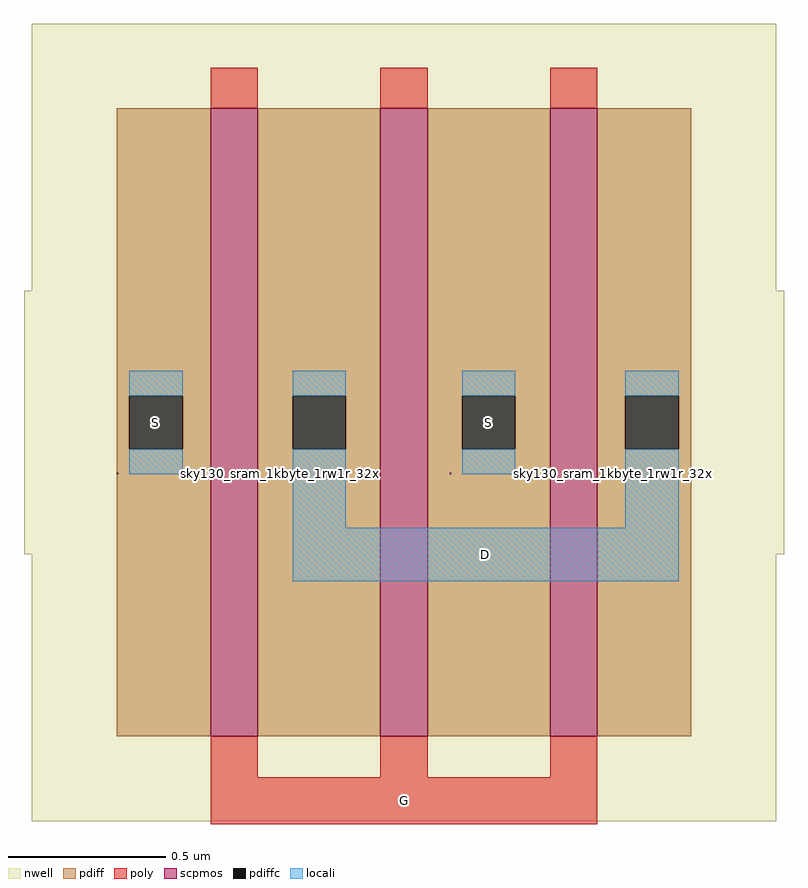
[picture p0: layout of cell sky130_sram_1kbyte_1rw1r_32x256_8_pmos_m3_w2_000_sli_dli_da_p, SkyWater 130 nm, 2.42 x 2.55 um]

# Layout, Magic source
magic
tech sky130A
magscale 1 2
<< nwell >>
rect -54 284 420 454
rect -59 116 425 284
rect -54 -54 420 116
<< scpmos >>
rect 60 0 90 400
rect 168 0 198 400
rect 276 0 306 400
<< pdiff >>
rect 0 217 60 400
rect 0 183 8 217
rect 42 183 60 217
rect 0 0 60 183
rect 90 217 168 400
rect 90 183 112 217
rect 146 183 168 217
rect 90 0 168 183
rect 198 217 276 400
rect 198 183 220 217
rect 254 183 276 217
rect 198 0 276 183
rect 306 217 366 400
rect 306 183 324 217
rect 358 183 366 217
rect 306 0 366 183
<< pdiffc >>
rect 8 183 42 217
rect 112 183 146 217
rect 220 183 254 217
rect 324 183 358 217
<< poly >>
rect 60 400 90 426
rect 168 400 198 426
rect 276 400 306 426
rect 60 -26 90 0
rect 168 -26 198 0
rect 276 -26 306 0
rect 60 -56 306 -26
<< locali >>
rect 8 217 42 233
rect 8 167 42 183
rect 112 217 146 233
rect 112 133 146 183
rect 220 217 254 233
rect 220 167 254 183
rect 324 217 358 233
rect 324 133 358 183
rect 112 99 358 133
use sky130_sram_1kbyte_1rw1r_32x256_8_contact_12  sky130_sram_1kbyte_1rw1r_32x256_8_contact_12_0
transform 1 0 316 0 1 167
box 0 0 1 1
use sky130_sram_1kbyte_1rw1r_32x256_8_contact_12  sky130_sram_1kbyte_1rw1r_32x256_8_contact_12_1
transform 1 0 212 0 1 167
box 0 0 1 1
use sky130_sram_1kbyte_1rw1r_32x256_8_contact_12  sky130_sram_1kbyte_1rw1r_32x256_8_contact_12_2
transform 1 0 104 0 1 167
box 0 0 1 1
use sky130_sram_1kbyte_1rw1r_32x256_8_contact_12  sky130_sram_1kbyte_1rw1r_32x256_8_contact_12_3
transform 1 0 0 0 1 167
box 0 0 1 1
<< labels >>
rlabel locali s 25 200 25 200 4 S
port 1 nsew
rlabel locali s 237 200 237 200 4 S
port 1 nsew
rlabel locali s 235 116 235 116 4 D
port 2 nsew
rlabel poly s 183 -41 183 -41 4 G
port 3 nsew
<< properties >>
string FIXED_BBOX -54 -56 420 116
string GDS_FILE $PDKPATH/libs.ref/sky130_sram_macros/gds/sky130_sram_1kbyte_1rw1r_32x256_8.gds
string GDS_END 125022
string GDS_START 123650
<< end >>
